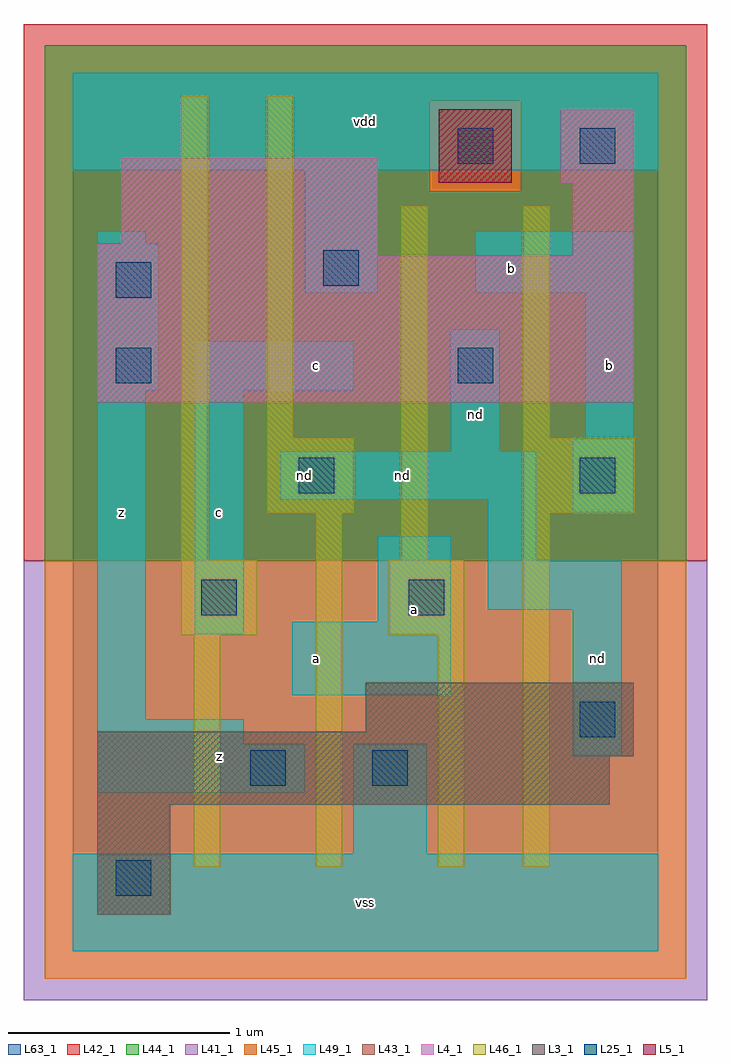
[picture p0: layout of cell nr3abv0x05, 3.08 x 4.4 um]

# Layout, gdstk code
import gdstk
lib = gdstk.Library(unit=1e-6, precision=1e-09)
def R(c, l, rs):  # rectangles x0, y0, x1, y1
    for r in rs: c.add(gdstk.rectangle(r[:2], r[2:], *l))
L3_1 = (3, 1)
L4_1 = (4, 1)
L5_1 = (5, 1)
L25_1 = (25, 1)
L41_1 = (41, 1)
L42_1 = (42, 1)
L43_1 = (43, 1)
L44_1 = (44, 1)
L45_1 = (45, 1)
L46_1 = (46, 1)
L49_1 = (49, 1)
L63_1 = (63, 1)

nr3abv0x05 = lib.new_cell('nr3abv0x05')
R(nr3abv0x05, L3_1, [(0.11,0.165,0.44,0.66), (0.11,0.66,2.42,0.88), (0.11,0.88,2.53,0.99), (1.32,0.99,2.53,1.21)])
R(nr3abv0x05, L4_1, [(0.11,2.475,2.53,3.135), (0.11,3.135,1.375,3.19), (2.255,3.135,2.53,3.465), (0.22,3.19,1.375,3.575), (2.2,3.465,2.53,3.795)])
R(nr3abv0x05, L5_1, [(1.65,3.465,1.98,3.795)])
R(nr3abv0x05, L25_1, [(0.195,0.25,0.355,0.41), (0.8,0.745,0.96,0.905), (1.35,0.745,1.51,0.905), (2.285,0.965,2.445,1.125), (0.58,1.515,0.74,1.675), (1.515,1.515,1.675,1.675), (1.02,2.065,1.18,2.225), (2.285,2.065,2.445,2.225), (0.195,2.56,0.355,2.72), (1.735,2.56,1.895,2.72), (0.195,2.945,0.355,3.105), (1.13,3,1.29,3.16), (1.735,3.55,1.895,3.71), (2.285,3.55,2.445,3.71)])
R(nr3abv0x05, L41_1, [(-0.22,-0.22,2.86,1.76)])
R(nr3abv0x05, L42_1, [(-0.22,1.76,2.86,4.18)])
R(nr3abv0x05, L43_1, [(0.11,0.165,0.44,0.66), (0.11,0.66,2.42,0.88), (0.11,0.88,2.53,0.99), (1.32,0.99,2.53,1.21), (0.11,2.475,2.53,3.135), (0.11,3.135,1.375,3.19), (2.255,3.135,2.53,3.465), (0.22,3.19,1.375,3.575), (1.65,3.465,1.98,3.795), (2.2,3.465,2.53,3.795)])
R(nr3abv0x05, L44_1, [(-0.125,1.76,2.765,3.425), (-0.125,3.425,1.61,3.835), (2.02,3.425,2.765,3.835), (-0.125,3.835,2.765,4.085)])
R(nr3abv0x05, L45_1, [(-0.125,-0.125,2.765,1.76), (1.61,3.425,2.02,3.835)])
R(nr3abv0x05, L46_1, [(0.545,0.38,0.665,1.425), (1.095,0.38,1.215,1.975), (1.645,0.38,1.765,1.425), (2.03,0.38,2.15,1.975), (0.49,1.425,0.83,1.765), (1.425,1.425,1.765,1.765), (0.49,1.765,0.61,3.855), (1.48,1.765,1.6,3.36), (0.875,1.975,1.27,2.315), (2.03,1.975,2.535,2.315), (0.875,2.315,0.995,3.855), (2.03,2.315,2.15,3.36)])
R(nr3abv0x05, L49_1, [(0,0,2.64,0.44), (1.265,0.44,1.595,0.935), (0.11,0.715,1.045,0.935), (2.255,0.88,2.475,1.54), (0.11,0.935,0.77,1.045), (0.11,1.045,0.33,2.53), (0.99,1.155,1.705,1.485), (0.55,1.43,0.77,2.53), (1.375,1.485,1.705,1.87), (1.87,1.54,2.475,1.76), (1.87,1.76,2.09,2.035), (2.255,1.98,2.53,2.31), (0.935,2.035,2.09,2.255), (1.705,2.255,1.925,2.805), (2.31,2.31,2.53,2.97), (0.11,2.53,0.385,3.19), (0.55,2.53,1.265,2.75), (1.045,2.97,1.375,3.52), (1.815,2.97,2.53,3.245), (0.11,3.19,0.33,3.245), (0,3.52,2.64,3.96)])
R(nr3abv0x05, L63_1, [(0,0,2.64,3.96)])
nr3abv0x05.add(gdstk.Label('nd', (1.045,2.145), layer=49, texttype=1))
nr3abv0x05.add(gdstk.Label('z', (0.22,1.98), layer=49, texttype=1))
nr3abv0x05.add(gdstk.Label('z', (0.66,0.88), layer=49, texttype=1))
nr3abv0x05.add(gdstk.Label('a', (1.1,1.32), layer=49, texttype=1))
nr3abv0x05.add(gdstk.Label('c', (0.66,1.98), layer=49, texttype=1))
nr3abv0x05.add(gdstk.Label('c', (1.1,2.64), layer=49, texttype=1))
nr3abv0x05.add(gdstk.Label('vss', (1.32,0.22), layer=49, texttype=1))
nr3abv0x05.add(gdstk.Label('a', (1.54,1.54), layer=49, texttype=1))
nr3abv0x05.add(gdstk.Label('nd', (1.815,2.42), layer=49, texttype=1))
nr3abv0x05.add(gdstk.Label('vdd', (1.32,3.74), layer=49, texttype=1))
nr3abv0x05.add(gdstk.Label('nd', (2.365,1.32), layer=49, texttype=1))
nr3abv0x05.add(gdstk.Label('nd', (1.485,2.145), layer=49, texttype=1))
nr3abv0x05.add(gdstk.Label('b', (2.42,2.64), layer=49, texttype=1))
nr3abv0x05.add(gdstk.Label('b', (1.98,3.08), layer=49, texttype=1))

lib.write_gds('nr3abv0x05.gds')
